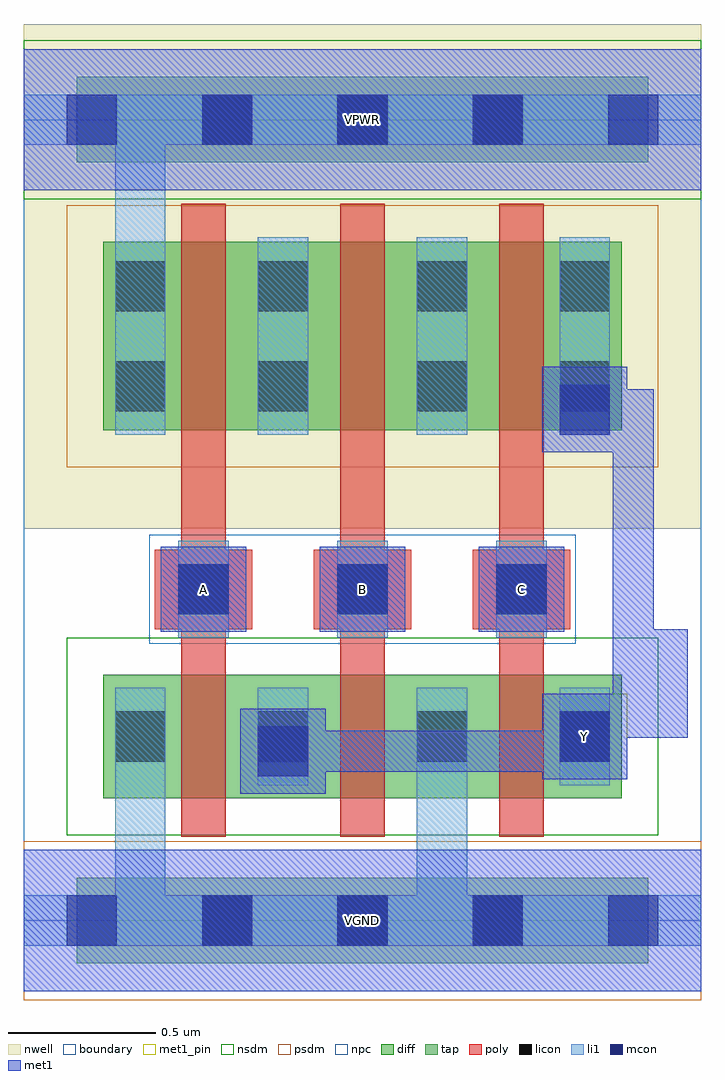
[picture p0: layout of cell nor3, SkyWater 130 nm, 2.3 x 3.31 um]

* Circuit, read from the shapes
.subckt nor3 A B C VGND VPWR Y
XM1 Y A VGND VGND sky130_fd_pr__nfet_01v8 w=0.42 l=0.15
XM2 VGND B Y VGND sky130_fd_pr__nfet_01v8 w=0.42 l=0.15
XM3 Y C VGND VGND sky130_fd_pr__nfet_01v8 w=0.42 l=0.15
XM4 n1 A VPWR VPWR sky130_fd_pr__pfet_01v8 w=0.64 l=0.15
XM5 n2 B n1 VPWR sky130_fd_pr__pfet_01v8 w=0.64 l=0.15
XM6 Y C n2 VPWR sky130_fd_pr__pfet_01v8 w=0.64 l=0.15
.ends

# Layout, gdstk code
import gdstk
lib = gdstk.Library(unit=1e-6, precision=1e-09)
def R(c, l, rs):  # rectangles x0, y0, x1, y1
    for r in rs: c.add(gdstk.rectangle(r[:2], r[2:], *l))
def A(c, l, x, y, w, h, nx, ny, dx, dy):  # array of equal rectangles
    R(c, l, [(x+i*dx, y+j*dy, x+i*dx+w, y+j*dy+h) for i in range(nx) for j in range(ny)])
nwell = (64, 20)
diff = (65, 20)
tap = (65, 44)
poly = (66, 20)
licon = (66, 44)
li1 = (67, 20)
mcon = (67, 44)
met1_pin = (68, 16)
met1 = (68, 20)
nsdm = (93, 44)
psdm = (94, 20)
npc = (95, 20)
boundary = (235, 4)

nor3 = lib.new_cell('nor3')
R(nor3, nwell, [(0,1.33,2.3,3.045)])
R(nor3, diff, [(0.27,0.415,2.03,0.835), (0.27,1.665,2.03,2.305)])
R(nor3, tap, [(0.18,-0.145,2.12,0.145), (0.18,2.575,2.12,2.865)])
A(nor3, poly, 0.535, 0.285, 0.15, 2.15, 3, 1, 0.54, 0)
A(nor3, poly, 0.445, 0.99, 0.33, 0.27, 3, 1, 0.54, 0)
A(nor3, licon, 0.605, -0.085, 0.17, 0.17, 3, 2, 0.46, 2.72)
A(nor3, licon, 0.525, 1.04, 0.17, 0.17, 3, 1, 0.54, 0)
R(nor3, licon, [(0.31,0.54,0.48,0.71), (0.795,0.54,0.965,0.71), (1.335,0.54,1.505,0.71), (1.82,0.54,1.99,0.71), (0.31,1.73,0.48,1.9), (0.795,1.73,0.965,1.9), (1.335,1.73,1.505,1.9), (1.82,1.73,1.99,1.9), (0.31,2.07,0.48,2.24), (0.795,2.07,0.965,2.24), (1.335,2.07,1.505,2.24), (1.82,2.07,1.99,2.24)])
A(nor3, li1, 0.525, 0.96, 0.17, 0.33, 3, 1, 0.54, 0)
R(nor3, li1, [(0,-0.085,2.3,0.085), (0.31,-0.085,0.48,0.79), (1.335,-0.085,1.505,0.79), (0.31,0.46,0.48,0.79), (0.795,0.46,0.965,0.79), (1.335,0.46,1.505,0.79), (1.82,0.46,1.99,0.79), (0.31,1.65,0.48,2.32), (0.31,1.65,0.48,2.805), (0.795,1.65,0.965,2.32), (1.335,1.65,1.505,2.32), (1.82,1.65,1.99,2.32), (0,2.635,2.3,2.805)])
A(nor3, mcon, 0.145, -0.085, 0.17, 0.17, 5, 2, 0.46, 2.72)
A(nor3, mcon, 0.525, 1.04, 0.17, 0.17, 3, 1, 0.54, 0)
R(nor3, mcon, [(0.795,0.49,0.965,0.66), (1.82,0.54,1.99,0.71), (1.82,1.65,1.99,1.82)])
A(nor3, met1_pin, 0.465, 0.98, 0.29, 0.29, 3, 1, 0.54, 0)
R(nor3, met1_pin, [(0,-0.24,2.3,0.24), (1.76,0.48,2.05,0.77), (0,2.48,2.3,2.96)])
A(nor3, met1, 0.465, 0.98, 0.29, 0.29, 3, 1, 0.54, 0)
R(nor3, met1, [(0,-0.24,2.3,0.24), (0.735,0.43,1.025,0.72), (1.76,0.48,2.05,0.77), (0.81,0.505,1.105,0.645), (0.965,0.505,1.91,0.645), (1.77,0.505,1.91,0.645), (1.77,0.505,1.91,0.76), (1.77,0.62,2.255,0.76), (2.05,0.62,2.115,0.77), (2.115,0.62,2.255,0.99), (2,0.76,2.255,0.85), (2,0.76,2.14,0.85), (2,0.77,2.05,0.85), (2,0.85,2.255,0.99), (2,0.85,2.14,1.68), (2,1.54,2.14,1.805), (1.76,1.59,2.05,1.88), (1.835,1.665,2.14,1.805), (0,2.48,2.3,2.96)])
R(nor3, nsdm, [(0.145,0.29,2.155,0.96), (0,2.45,2.3,2.99)])
R(nor3, psdm, [(0,-0.27,2.3,0.27), (0.145,1.54,2.155,2.43)])
R(nor3, npc, [(0.425,0.94,1.875,1.31)])
R(nor3, boundary, [(0,0,2.3,2.72)])
nor3.add(gdstk.Label('A', (0.61,1.125), layer=68, texttype=5))
nor3.add(gdstk.Label('B', (1.15,1.125), layer=68, texttype=5))
nor3.add(gdstk.Label('C', (1.69,1.125), layer=68, texttype=5))
nor3.add(gdstk.Label('Y', (1.905,0.625), layer=68, texttype=5))
nor3.add(gdstk.Label('VPWR', (1.15,2.72), layer=68, texttype=5))
nor3.add(gdstk.Label('VGND', (1.15,0), layer=68, texttype=5))
nor3.add(gdstk.Label('A', (0.61,1.125), layer=68, texttype=16))
nor3.add(gdstk.Label('B', (1.15,1.125), layer=68, texttype=16))
nor3.add(gdstk.Label('C', (1.69,1.125), layer=68, texttype=16))
nor3.add(gdstk.Label('Y', (1.905,0.625), layer=68, texttype=16))
nor3.add(gdstk.Label('VPWR', (1.15,2.72), layer=68, texttype=16))
nor3.add(gdstk.Label('VGND', (1.15,0), layer=68, texttype=16))

lib.write_gds('nor3.gds')
